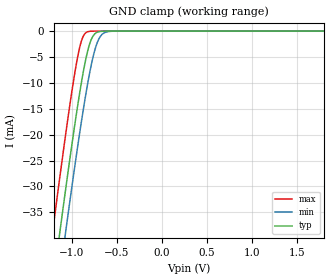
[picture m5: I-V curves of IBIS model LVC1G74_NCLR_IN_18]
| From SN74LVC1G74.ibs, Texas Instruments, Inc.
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[Model]   LVC1G74_NCLR_IN_18
Model_type  Input
Vinl=0.5775
Vinh=1.2675
| variable   typ   min   max
C_comp   3.50pF   2.98pF   4.32pF
[Temperature Range]   40   100   -40
| Ambient temperature   25   85   -40
[Voltage range]   1.8   1.65   1.95
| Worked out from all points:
|   GND clamp passes 1 mA (typ) near -0.77 V on its own axis
[GND Clamp]
| LVC1G74_NCLR_IN_18
|   Voltage   I(typ)   I(min)   I(max)
-5.5V     -655.2mA   -662.2mA   -646.6mA
-1.215V   -49.6mA    -57.88mA   -38.96mA
-1.135V   -39.07mA   -47.36mA   -28.42mA
-1.075V   -31.35mA   -39.6mA    -20.75mA
-1.055V   -28.82mA   -37.05mA   -18.27mA
-955mV    -16.68mA   -24.66mA   -6.874mA
-885mV    -9.098mA   -16.55mA   -1.486mA
-825mV    -3.922mA   -10.26mA   -137.1uA
-780mV    -1.472mA   -6.227mA   -17.15uA
-715mV    -205.4uA   -2.128mA   -808.5nA
-650mV    -22.01uA   -443.9uA   -37.93nA
1.8V      3.326pA    6.142pA    3.026pA
